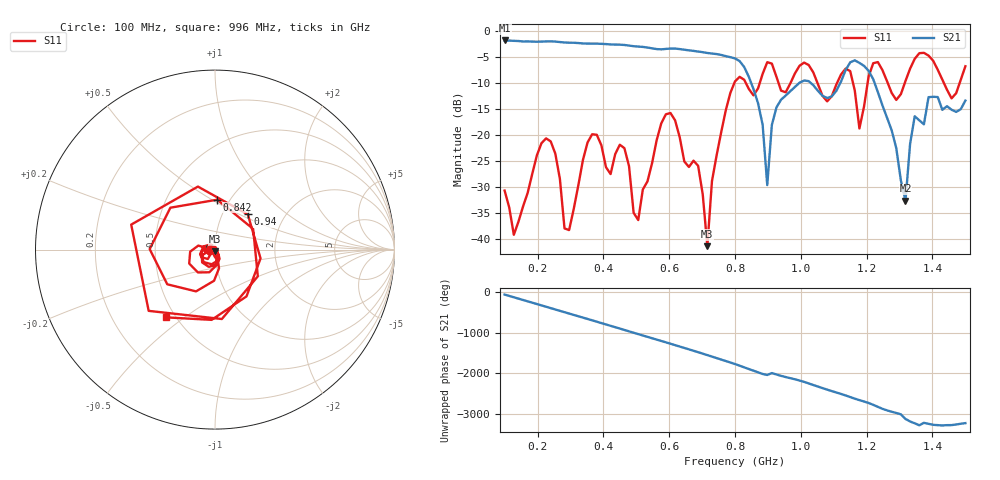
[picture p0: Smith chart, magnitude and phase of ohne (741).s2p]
! NanoVNA-App
! Date: 2025-09-25 14:26:34
! Start: 100MHz Stop: 1,5GHz Points: 101
! S-Parameter data: F S11 S21 S12 S22
# Hz S RI R 50
!  Frequency  S11_Real  S11_Imag  S21_Real  S21_Imag  S12_Real  S12_Imag  S22_Real  S22_Imag
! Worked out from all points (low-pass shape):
!   101 points, 100 MHz to 1.5 GHz, reference 50 ohm
!   highest |S21| = -1.79 dB at 100 MHz (marker M1); lowest = -32.6 dB at 1.318 GHz (marker M2)
!   |S21| within 3 dB of the highest: start of sweep to 771.4 MHz
!   lowest |S11| = -41.3 dB at 716 MHz (marker M3), VSWR 1.02, Z = 49.8 - j0.836 ohm
!   |S11| at or under -10 dB: start of sweep to 797.8 MHz; 833.2 MHz to 875.1 MHz (41.86 MHz wide, 4.9 % of centre); 1.051 GHz to 1.11 GHz (59.04 MHz wide, 5.47 % of centre) (the widest 3 of 7)
!   S12 and S22 are empty: the file has one direction only
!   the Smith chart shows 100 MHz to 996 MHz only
!   S11 on the Smith chart (normalised r, x): 100 MHz: 0.94, -0.01; 842 MHz: 0.88, +0.53; 940 MHz: 1.31, +0.56; 996 MHz: 0.45, -0.43
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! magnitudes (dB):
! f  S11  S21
! 100 MHz  -30.6  -1.8
! 128 MHz  -39.1  -1.9
! 226 MHz  -20.6  -2.0
! 296 MHz  -38.2  -2.2
! 338 MHz  -24.7  -2.4
! 464 MHz  -22.5  -2.7
! 506 MHz  -36.3  -3.0
! 576 MHz  -17.7  -3.5
! 688 MHz  -25.9  -3.9
! 716 MHz  -41.3  -4.2
! 800 MHz  -9.7  -5.2
! 842 MHz  -11.1  -8.8
! 898 MHz  -6.0  -29.6
! 940 MHz  -11.4  -13.2
! 996 MHz  -6.7  -9.9
! 1.038 GHz  -7.9  -10.4
! 1.178 GHz  -18.7  -6.1
! 1.22 GHz  -6.2  -9.2
! 1.276 GHz  -11.9  -19.0
! 1.318 GHz  -9.6  -32.6
! 1.346 GHz  -5.3  -16.4
! 1.5 GHz  -6.8  -13.3
